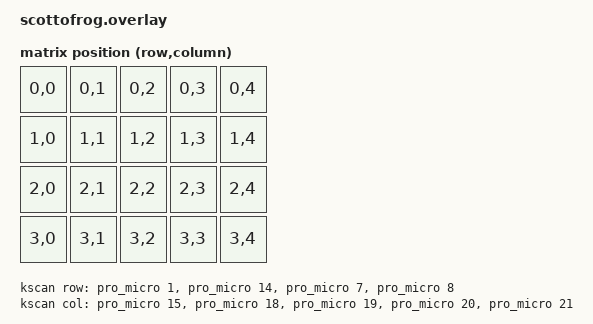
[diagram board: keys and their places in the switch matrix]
#include <dt-bindings/zmk/matrix_transform.h>

/ {
    chosen {
        zmk,kscan = &kscan;
        zmk,matrix_transform = &transform;
    };

    aliases {
        led-red = &led0;
        led-green = &led1;
        led-blue = &led2;
    };

    leds {
        compatible = "gpio-leds";
        status = "okay";
        led0: led_0 {
            gpios = <&pro_micro 9 GPIO_ACTIVE_LOW>;
        };
        led1: led_1 {
            gpios = <&pro_micro 16 GPIO_ACTIVE_LOW>;
        };
        led2: led_2 {
            gpios = <&pro_micro 10 GPIO_ACTIVE_LOW>;
        };
    };

    kscan: kscan {
        compatible = "zmk,kscan-gpio-matrix";
        label = "KSCAN";
        diode-direction = "col2row";

        row-gpios = <&pro_micro 1 (GPIO_ACTIVE_HIGH | GPIO_PULL_DOWN)>,
                    <&pro_micro 14 (GPIO_ACTIVE_HIGH | GPIO_PULL_DOWN)>,
                    <&pro_micro 7 (GPIO_ACTIVE_HIGH | GPIO_PULL_DOWN)>,
                    <&pro_micro 8 (GPIO_ACTIVE_HIGH | GPIO_PULL_DOWN)>;

        col-gpios = <&pro_micro 15 (GPIO_ACTIVE_HIGH)>,
                    <&pro_micro 18 (GPIO_ACTIVE_HIGH)>,
                    <&pro_micro 19 (GPIO_ACTIVE_HIGH)>,
                    <&pro_micro 20 (GPIO_ACTIVE_HIGH)>,
                    <&pro_micro 21 (GPIO_ACTIVE_HIGH)>;
    };

    transform: matrix_transform {
        compatible = "zmk,matrix-transform";
        rows = <4>;
        columns = <7>;

        map = <
                     RC(0, 0) RC(0, 1) RC(0, 2) RC(0, 3) RC(0, 4)
                     RC(1, 0) RC(1, 1) RC(1, 2) RC(1, 3) RC(1, 4)
                     RC(2, 0) RC(2, 1) RC(2, 2) RC(2, 3) RC(2, 4)
                     RC(3, 0) RC(3, 1) RC(3, 2) RC(3, 3) RC(3, 4)
        >;
    };
};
